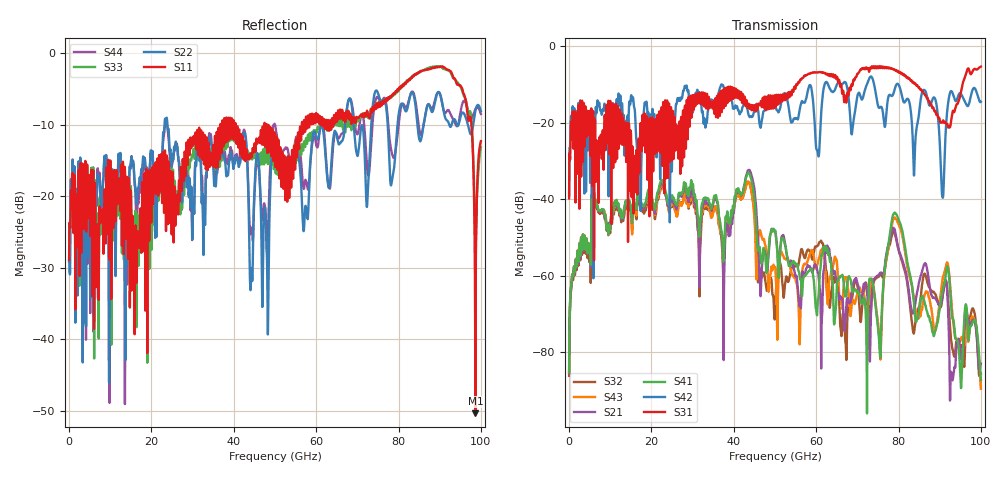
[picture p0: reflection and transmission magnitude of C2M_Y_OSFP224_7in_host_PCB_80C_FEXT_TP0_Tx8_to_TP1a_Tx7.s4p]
# GHz S RI R 45
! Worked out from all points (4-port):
!   4000 points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, 25 MHz to 100 GHz, reference 45 ohm
!   strongest paths, dB at 25 MHz, 25.02 GHz, 50.02 GHz, 75.03 GHz, 100 GHz:
!     S31: -39.8, -26.9, -14.3, -5.5, -5.4
!     S42: -38.9, -28.8, -16.1, -15.6, -14.6
!     S41: -85.2, -38.9, -48.2, -73.3, -87.1
!     S21: -85.4, -39.4, -48.5, -59.9, -82.9
!     S43: -85.2, -40.7, -57.7, -72.3, -89.5
!     S32: -86.1, -40.8, -70.2, -60.3, -85.6
!   lowest |S11| = -50.3 dB at 98.65 GHz (marker M1), VSWR 1.01, Z = 45.3 + j0.0349 ohm
!   |S11| at or under -10 dB: start of sweep to 36.75 GHz; 40.48 GHz to 47.44 GHz (6.961 GHz wide, 15.8 % of centre); 47.99 GHz to 56.51 GHz (8.522 GHz wide, 16.3 % of centre) (the widest 3 of 24)
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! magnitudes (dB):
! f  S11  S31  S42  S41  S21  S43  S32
! 25 MHz  -28.9  -39.8  -38.9  -85.2  -85.4  -85.2  -86.1
! 6 GHz  -21.0  -22.6  -24.6  -37.3  -37.5  -37.3  -37.8
! 43.67 GHz  -14.7  -15.2  -18.2  -33.2  -32.4  -35.5  -35.7
! 49.77 GHz  -11.8  -14.2  -15.3  -48.1  -48.2  -57.5  -68.8
! 90.67 GHz  -1.8  -19.8  -39.5  -63.8  -65.6  -61.0  -65.6
! 98.65 GHz  -50.3  -6.0  -11.3  -71.9  -72.7  -72.2  -71.0
! 100 GHz  -12.3  -5.4  -14.6  -87.1  -82.9  -89.5  -85.6
